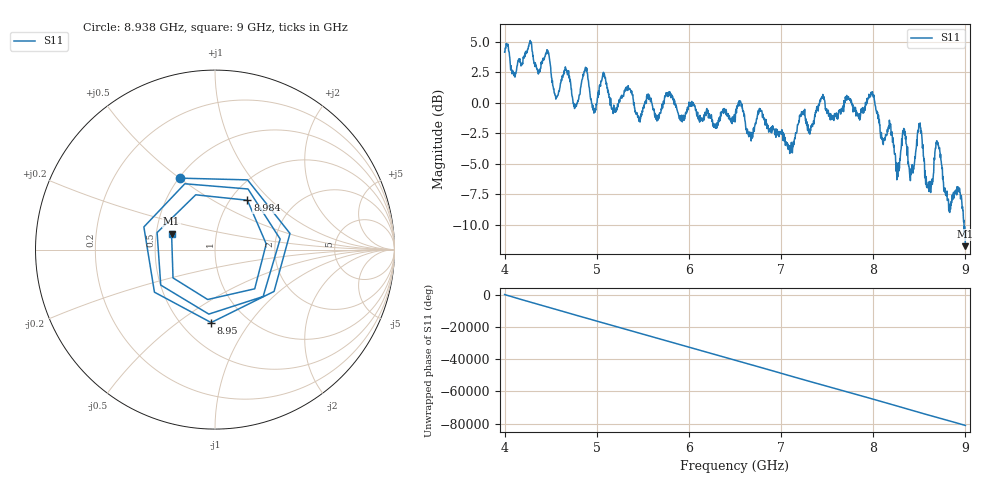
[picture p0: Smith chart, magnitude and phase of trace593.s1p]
! Created with skrf 1.8.0 (http://scikit-rf.org).
# Hz S RI R 50.0
!freq ReS11 ImS11
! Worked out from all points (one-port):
!   1601 points, 4 GHz to 9 GHz, reference 50 ohm
!   lowest |S11| = -11.8 dB at 9 GHz (marker M1), VSWR 1.69, Z = 30.1 + j5.71 ohm
!   |S11| at or under -10 dB: 8.985163 GHz to end of sweep
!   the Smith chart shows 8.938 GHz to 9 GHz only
!   S11 on the Smith chart (normalised r, x): 8.938 GHz: 0.51, +0.50; 8.95 GHz: 0.69, -0.67; 8.984 GHz: 1.19, +0.74; 9 GHz: 0.60, +0.11
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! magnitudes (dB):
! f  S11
! 4 GHz  4.2
! 4.103 GHz  2.2
! 4.466 GHz  4.3
! 4.559 GHz  0.5
! 4.625 GHz  2.2
! 4.766 GHz  -0.3
! 4.875 GHz  2.9
! 4.966 GHz  -0.5
! 5.069 GHz  2.2
! 5.25 GHz  0.1
! 5.875 GHz  -0.7
! 6.5 GHz  -1.6
! 7.125 GHz  -3.8
! 7.231 GHz  -0.7
! 7.75 GHz  0.3
! 7.991 GHz  0.9
! 8.259 GHz  -5.4
! 8.331 GHz  -2.1
! 8.375 GHz  -4.2
! 8.422 GHz  -5.1
! 8.503 GHz  -1.9
! 8.603 GHz  -7.3
! 8.697 GHz  -3.4
! 8.812 GHz  -7.9
! 8.938 GHz  -7.1
! 8.95 GHz  -7.8
! 8.984 GHz  -9.7
! 9 GHz  -11.8
